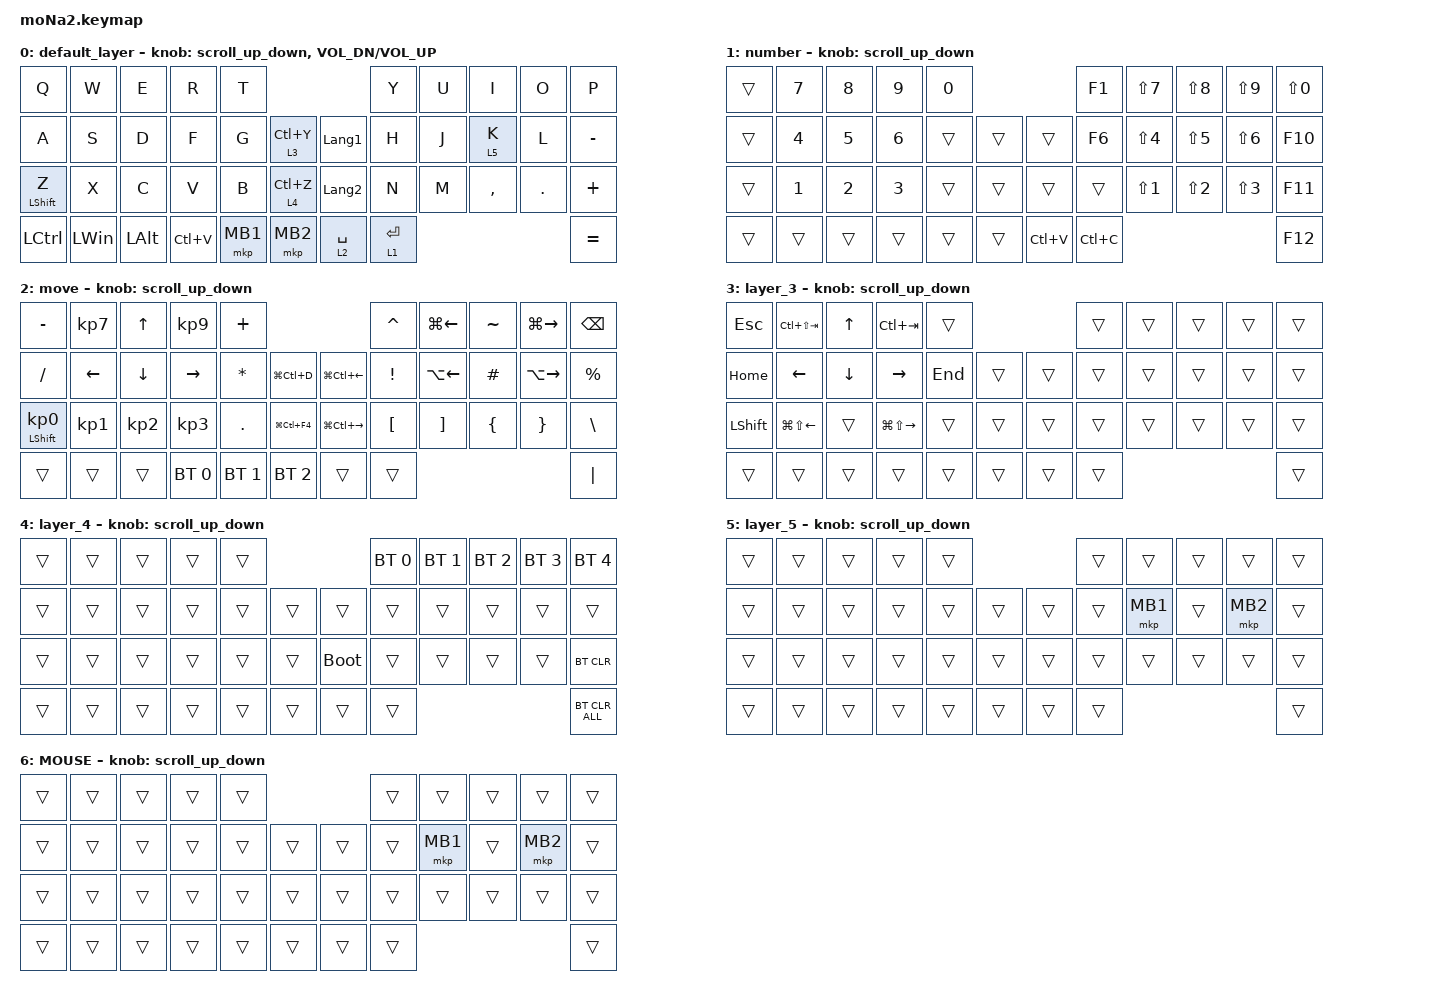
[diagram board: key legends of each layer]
#include <behaviors.dtsi>
#include <dt-bindings/zmk/bt.h>
#include <dt-bindings/zmk/keys.h>
#include <dt-bindings/zmk/pointing.h>

#define ZMK_POINTING_DEFAULT_SCRL_VAL 100
#define MOUSE 6

&mt {
    flavor = "balanced";
    quick-tap-ms = <0>;
};

/ {
    combos { compatible = "zmk,combos"; };

    macros {
        to_layer_0: to_layer_0 {
            compatible = "zmk,behavior-macro-one-param";
            #binding-cells = <1>;
            bindings = <&to 0 &macro_param_1to1 &kp MACRO_PLACEHOLDER>;
            label = "TO_LAYER_0";
        };
    };

    behaviors {
        lt_to_layer_0: lt_to_layer_0 {
            compatible = "zmk,behavior-hold-tap";
            label = "LAYER_TAP_TO_0";
            bindings = <&mo>, <&to_layer_0>;

            #binding-cells = <2>;
            tapping-term-ms = <200>;
        };

        scroll_up_down: behavior_sensor_rotate_mouse_wheel_up_down {
            compatible = "zmk,behavior-sensor-rotate";
            #sensor-binding-cells = <0>;
            bindings = <&msc SCRL_UP>, <&msc SCRL_DOWN>;

            tap-ms = <20>;
        };
    };

    keymap {
        compatible = "zmk,keymap";

        default_layer {
            bindings = <
&kp Q             &kp W         &kp E         &kp R      &kp T                                    &kp Y        &kp U  &kp I      &kp O    &kp P
&kp A             &kp S         &kp D         &kp F      &kp G     &lt 3 LC(Y)    &kp LANGUAGE_1  &kp H        &kp J  &lt 5 K    &kp L    &kp MINUS
&mt LEFT_SHIFT Z  &kp X         &kp C         &kp V      &kp B     &lt 4 LC(Z)    &kp LANGUAGE_2  &kp N        &kp M  &kp COMMA  &kp DOT  &kp PLUS
&kp LCTRL         &kp LEFT_WIN  &kp LEFT_ALT  &kp LC(V)  &mkp MB1  &mkp MB2       &lt 2 SPACE     &lt 1 ENTER                             &kp EQUAL
            >;

            sensor-bindings =
                <&scroll_up_down>,
                <&inc_dec_kp C_VOL_DN C_VOL_UP>;
        };

        number {
            bindings = <
&trans  &kp NUMBER_7  &kp NUMBER_8  &kp NUMBER_9  &kp NUMBER_0                       &kp F1     &kp LS(N7)        &kp LS(N8)  &kp LS(N9)  &kp LS(N0)
&trans  &kp NUMBER_4  &kp NUMBER_5  &kp NUMBER_6  &trans        &trans    &trans     &kp F6     &kp LS(N4)        &kp LS(N5)  &kp LS(N6)  &kp F10
&trans  &kp NUMBER_1  &kp NUMBER_2  &kp NUMBER_3  &trans        &trans    &trans     &trans     &kp LS(NUMBER_1)  &kp LS(N2)  &kp LS(N3)  &kp F11
&trans  &trans        &trans        &trans        &trans        &trans    &kp LC(V)  &kp LC(C)                                            &kp F12
            >;

            sensor-bindings = <&scroll_up_down>;
        };

        move {
            bindings = <
&kp MINUS                   &kp KP_NUMBER_7  &kp UP_ARROW     &kp KP_NUMBER_9  &kp PLUS                                                &kp CARET         &kp LG(LEFT)       &kp TILDE       &kp LG(RIGHT)    &kp BACKSPACE
&kp SLASH                   &kp LEFT         &kp DOWN         &kp RIGHT        &kp ASTERISK  &kp LG(LC(D))     &kp LG(LC(LEFT_ARROW))  &kp EXCLAMATION   &kp LA(LEFT)       &kp HASH        &kp LA(RIGHT)    &kp PERCENT
&mt LEFT_SHIFT KP_NUMBER_0  &kp KP_NUMBER_1  &kp KP_NUMBER_2  &kp KP_NUMBER_3  &kp PERIOD    &kp LG(LC(F4))    &kp LG(LC(RIGHT))       &kp LEFT_BRACKET  &kp RIGHT_BRACKET  &kp LEFT_BRACE  &kp RIGHT_BRACE  &kp BACKSLASH
&trans                      &trans           &trans           &bt BT_SEL 0     &bt BT_SEL 1  &bt BT_SEL 2      &trans                  &trans                                                                &kp PIPE
            >;

            sensor-bindings = <&scroll_up_down>;
        };

        layer_3 {
            bindings = <
&kp ESCAPE      &kp LC(LS(TAB))         &kp UP_ARROW    &kp LC(TAB)              &trans                     &trans  &trans  &trans  &trans  &trans
&kp HOME        &kp LEFT_ARROW          &kp DOWN_ARROW  &kp RIGHT_ARROW          &kp END  &trans    &trans  &trans  &trans  &trans  &trans  &trans
&kp LEFT_SHIFT  &kp LG(LS(LEFT_ARROW))  &trans          &kp LG(LS(RIGHT_ARROW))  &trans   &trans    &trans  &trans  &trans  &trans  &trans  &trans
&trans          &trans                  &trans          &trans                   &trans   &trans    &trans  &trans                          &trans
            >;

            sensor-bindings = <&scroll_up_down>;
        };

        layer_4 {
            bindings = <
&trans  &trans  &trans  &trans  &trans                         &bt BT_SEL 0  &bt BT_SEL 1  &bt BT_SEL 2  &bt BT_SEL 3  &bt BT_SEL 4
&trans  &trans  &trans  &trans  &trans  &trans    &trans       &trans        &trans        &trans        &trans        &trans
&trans  &trans  &trans  &trans  &trans  &trans    &bootloader  &trans        &trans        &trans        &trans        &bt BT_CLR
&trans  &trans  &trans  &trans  &trans  &trans    &trans       &trans                                                  &bt BT_CLR_ALL
            >;

            sensor-bindings = <&scroll_up_down>;
        };

        layer_5 {
            bindings = <
&trans  &trans  &trans  &trans  &trans                    &trans  &trans    &trans  &trans    &trans
&trans  &trans  &trans  &trans  &trans  &trans    &trans  &trans  &mkp MB1  &trans  &mkp MB2  &trans
&trans  &trans  &trans  &trans  &trans  &trans    &trans  &trans  &trans    &trans  &trans    &trans
&trans  &trans  &trans  &trans  &trans  &trans    &trans  &trans                              &trans
            >;

            sensor-bindings = <&scroll_up_down>;
        };

        MOUSE {
            bindings = <
&trans  &trans  &trans  &trans  &trans                    &trans  &trans    &trans  &trans    &trans
&trans  &trans  &trans  &trans  &trans  &trans    &trans  &trans  &mkp MB1  &trans  &mkp MB2  &trans
&trans  &trans  &trans  &trans  &trans  &trans    &trans  &trans  &trans    &trans  &trans    &trans
&trans  &trans  &trans  &trans  &trans  &trans    &trans  &trans                              &trans
            >;

            sensor-bindings = <&scroll_up_down>;
        };
    };
};
